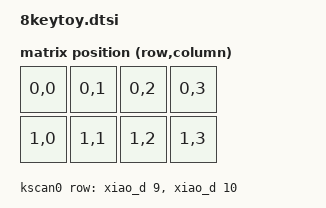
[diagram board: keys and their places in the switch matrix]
/*
 * Copyright (c) 2020 The ZMK Contributors
 *
 * SPDX-License-Identifier: MIT
 */

#include <dt-bindings/zmk/matrix_transform.h>

/ {
	chosen {
		zmk,kscan = &kscan0;
		zmk,matrix_transform = &default_transform;
	};

	default_transform: keymap_transform_0 {
		compatible = "zmk,matrix-transform";
		columns = <4>;
		rows = <2>;
		map = <
RC(0,0) RC(0,1)   RC(0,2) RC(0,3)
RC(1,0) RC(1,1)   RC(1,2) RC(1,3)
		>;
  };

	kscan0: kscan {
		compatible = "zmk,kscan-gpio-matrix";
		label = "KSCAN";

		diode-direction = "col2row";

		row-gpios
			= <&xiao_d  9 (GPIO_ACTIVE_HIGH | GPIO_PULL_DOWN)>
			, <&xiao_d 10 (GPIO_ACTIVE_HIGH | GPIO_PULL_DOWN)>
			;

	};
};

&xiao_spi { status = "disabled"; };
&xiao_i2c { status = "disabled"; };
&xiao_serial { status = "disabled"; };
